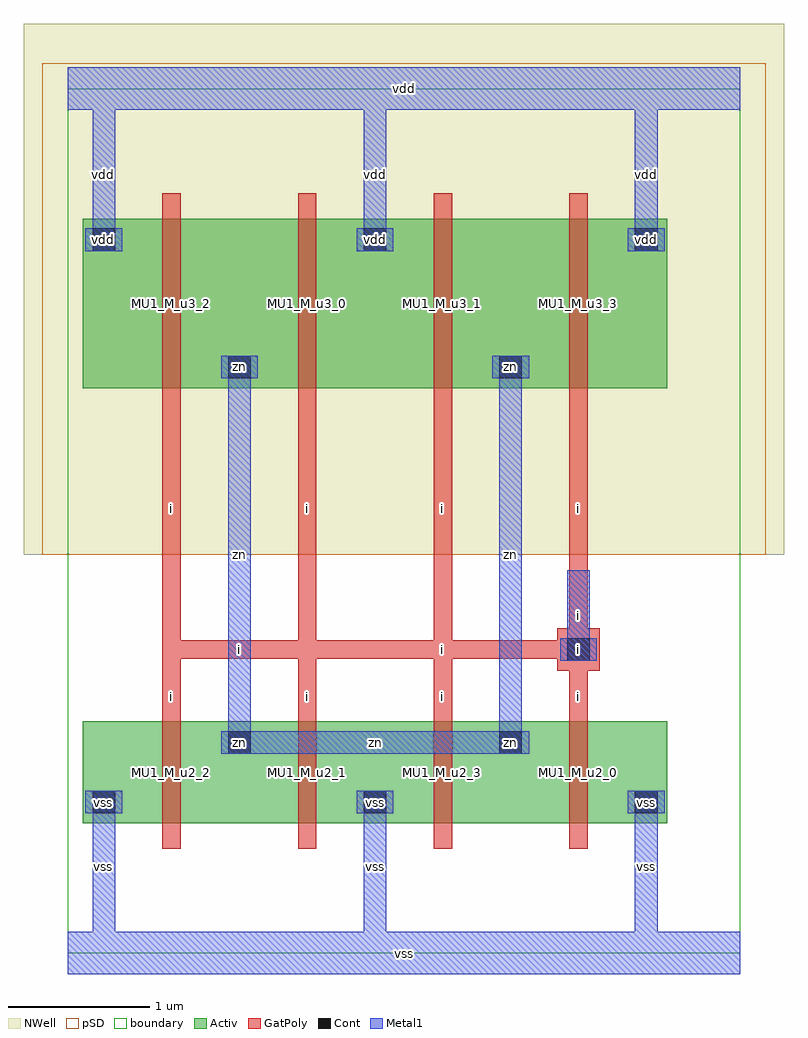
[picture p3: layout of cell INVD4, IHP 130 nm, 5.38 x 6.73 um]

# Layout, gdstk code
import gdstk
lib = gdstk.Library(unit=1e-6, precision=1e-09)
def R(c, l, rs):  # rectangles x0, y0, x1, y1
    for r in rs: c.add(gdstk.rectangle(r[:2], r[2:], *l))
def A(c, l, x, y, w, h, nx, ny, dx, dy):  # array of equal rectangles
    R(c, l, [(x+i*dx, y+j*dy, x+i*dx+w, y+j*dy+h) for i in range(nx) for j in range(ny)])
Activ = (1, 0)
GatPoly = (5, 0)
Cont = (6, 0)
Metal1 = (8, 0)
pSD = (14, 0)
NWell = (31, 0)
TEXT = (63, 0)
boundary = (189, 4)

invd4 = lib.new_cell('INVD4')
A(invd4, Activ, 0.105, 0.92, 1.26, 0.72, 4, 1, 0.96, 0)
A(invd4, Activ, 0.105, 0.92, 0.3, 0.3, 3, 2, 1.92, 3.98)
A(invd4, Activ, 0.105, 4, 1.26, 1.2, 4, 1, 0.96, 0)
R(invd4, Activ, [(1.065,1.34,1.365,1.64), (2.985,1.34,3.285,1.64), (1.065,4,1.365,4.3), (2.985,4,3.285,4.3)])
A(invd4, GatPoly, 0.67, 0.74, 0.13, 1.08, 4, 1, 0.96, 0)
A(invd4, GatPoly, 0.67, 1.425, 0.13, 0.79, 4, 1, 0.96, 0)
A(invd4, GatPoly, 0.67, 2.085, 0.13, 2.13, 4, 1, 0.96, 0)
A(invd4, GatPoly, 0.67, 3.82, 0.13, 1.56, 4, 1, 0.96, 0)
R(invd4, GatPoly, [(3.465,2,3.765,2.3), (0.67,2.085,1.76,2.215), (1.63,2.085,3.68,2.215)])
A(invd4, Cont, 0.175, 0.99, 0.16, 0.16, 3, 2, 1.92, 3.98)
R(invd4, Cont, [(1.135,1.41,1.295,1.57), (3.055,1.41,3.215,1.57), (3.535,2.07,3.695,2.23), (1.135,4.07,1.295,4.23), (3.055,4.07,3.215,4.23)])
A(invd4, Metal1, 0.175, 0.07, 0.16, 1.08, 3, 2, 1.92, 4.9)
A(invd4, Metal1, 0.125, 0.99, 0.26, 0.16, 3, 2, 1.92, 3.98)
R(invd4, Metal1, [(0,-0.15,4.76,0.15), (1.085,1.41,1.345,1.57), (1.135,1.41,3.215,1.57), (1.135,1.41,1.295,4.23), (3.005,1.41,3.265,1.57), (3.055,1.41,3.215,4.23), (3.485,2.07,3.745,2.23), (3.535,2.07,3.695,2.71), (1.085,4.07,1.345,4.23), (3.005,4.07,3.265,4.23), (0,5.97,4.76,6.27)])
R(invd4, pSD, [(-0.18,2.82,4.94,5.94), (-0.18,5.94,4.94,6.3)])
R(invd4, NWell, [(-0.31,2.82,5.07,6.58)])
R(invd4, boundary, [(0,0,4.76,6.12)])
invd4.add(gdstk.FlexPath([(0.105,0.41),(4.245,0.41)], 0, ends="flush", simple_path=True, layer=63, datatype=0))  # TEXT
invd4.add(gdstk.FlexPath([(0.105,1.07),(4.245,1.07)], 0, ends="flush", simple_path=True, layer=63, datatype=0))  # TEXT
invd4.add(gdstk.FlexPath([(0.105,1.49),(4.245,1.49)], 0, ends="flush", simple_path=True, layer=63, datatype=0))  # TEXT
invd4.add(gdstk.FlexPath([(0.105,2.15),(4.245,2.15)], 0, ends="flush", simple_path=True, layer=63, datatype=0))  # TEXT
invd4.add(gdstk.FlexPath([(0.105,2.63),(4.245,2.63)], 0, ends="flush", simple_path=True, layer=63, datatype=0))  # TEXT
invd4.add(gdstk.FlexPath([(0.105,3.11),(4.245,3.11)], 0, ends="flush", simple_path=True, layer=63, datatype=0))  # TEXT
invd4.add(gdstk.FlexPath([(0.105,4.15),(4.245,4.15)], 0, ends="flush", simple_path=True, layer=63, datatype=0))  # TEXT
invd4.add(gdstk.FlexPath([(0.105,4.71),(4.245,4.71)], 0, ends="flush", simple_path=True, layer=63, datatype=0))  # TEXT
invd4.add(gdstk.FlexPath([(0.105,5.05),(4.245,5.05)], 0, ends="flush", simple_path=True, layer=63, datatype=0))  # TEXT
invd4.add(gdstk.FlexPath([(0.105,5.71),(4.245,5.71)], 0, ends="flush", simple_path=True, layer=63, datatype=0))  # TEXT
invd4.add(gdstk.FlexPath([(0.255,0.07),(0.255,6.05)], 0, ends="flush", simple_path=True, layer=63, datatype=0))  # TEXT
invd4.add(gdstk.FlexPath([(0.735,0.07),(0.735,6.05)], 0, ends="flush", simple_path=True, layer=63, datatype=0))  # TEXT
invd4.add(gdstk.FlexPath([(1.215,0.07),(1.215,6.05)], 0, ends="flush", simple_path=True, layer=63, datatype=0))  # TEXT
invd4.add(gdstk.FlexPath([(1.695,0.07),(1.695,6.05)], 0, ends="flush", simple_path=True, layer=63, datatype=0))  # TEXT
invd4.add(gdstk.FlexPath([(2.175,0.07),(2.175,6.05)], 0, ends="flush", simple_path=True, layer=63, datatype=0))  # TEXT
invd4.add(gdstk.FlexPath([(2.655,0.07),(2.655,6.05)], 0, ends="flush", simple_path=True, layer=63, datatype=0))  # TEXT
invd4.add(gdstk.FlexPath([(3.135,0.07),(3.135,6.05)], 0, ends="flush", simple_path=True, layer=63, datatype=0))  # TEXT
invd4.add(gdstk.FlexPath([(3.615,0.07),(3.615,6.05)], 0, ends="flush", simple_path=True, layer=63, datatype=0))  # TEXT
invd4.add(gdstk.FlexPath([(4.095,0.07),(4.095,6.05)], 0, ends="flush", simple_path=True, layer=63, datatype=0))  # TEXT
invd4.add(gdstk.Label('zn', (3.135,1.49), layer=6, texttype=0))
invd4.add(gdstk.Label('zn', (1.215,1.49), layer=6, texttype=0))
invd4.add(gdstk.Label('zn', (1.215,4.15), layer=6, texttype=0))
invd4.add(gdstk.Label('zn', (3.135,4.15), layer=6, texttype=0))
invd4.add(gdstk.Label('i', (3.615,2.15), layer=6, texttype=0))
invd4.add(gdstk.Label('vss', (4.095,1.07), layer=6, texttype=0))
invd4.add(gdstk.Label('vss', (2.175,1.07), layer=6, texttype=0))
invd4.add(gdstk.Label('vss', (0.255,1.07), layer=6, texttype=0))
invd4.add(gdstk.Label('vdd', (2.175,5.05), layer=6, texttype=0))
invd4.add(gdstk.Label('vdd', (0.255,5.05), layer=6, texttype=0))
invd4.add(gdstk.Label('vdd', (4.095,5.05), layer=6, texttype=0))
invd4.add(gdstk.Label('vss', (4.095,1.07), layer=8, texttype=0))
invd4.add(gdstk.Label('vss', (4.095,0.61), layer=8, texttype=0))
invd4.add(gdstk.Label('vss', (2.175,1.07), layer=8, texttype=0))
invd4.add(gdstk.Label('vss', (2.175,0.61), layer=8, texttype=0))
invd4.add(gdstk.Label('vss', (0.255,1.07), layer=8, texttype=0))
invd4.add(gdstk.Label('vss', (0.255,0.61), layer=8, texttype=0))
invd4.add(gdstk.Label('vdd', (2.175,5.05), layer=8, texttype=0))
invd4.add(gdstk.Label('vdd', (2.175,5.51), layer=8, texttype=0))
invd4.add(gdstk.Label('vdd', (0.255,5.05), layer=8, texttype=0))
invd4.add(gdstk.Label('vdd', (0.255,5.51), layer=8, texttype=0))
invd4.add(gdstk.Label('vdd', (4.095,5.05), layer=8, texttype=0))
invd4.add(gdstk.Label('vdd', (4.095,5.51), layer=8, texttype=0))
invd4.add(gdstk.Label('zn', (3.135,1.49), layer=8, texttype=2))
invd4.add(gdstk.Label('zn', (1.215,1.49), layer=8, texttype=2))
invd4.add(gdstk.Label('zn', (1.215,4.15), layer=8, texttype=2))
invd4.add(gdstk.Label('zn', (3.135,4.15), layer=8, texttype=2))
invd4.add(gdstk.Label('zn', (2.175,1.49), layer=8, texttype=2))
invd4.add(gdstk.Label('zn', (1.215,2.82), layer=8, texttype=2))
invd4.add(gdstk.Label('zn', (3.135,2.82), layer=8, texttype=2))
invd4.add(gdstk.Label('i', (3.615,2.15), layer=8, texttype=2))
invd4.add(gdstk.Label('i', (3.615,2.39), layer=8, texttype=2))
invd4.add(gdstk.Label('vss', (2.38,0), layer=8, texttype=2))
invd4.add(gdstk.Label('vdd', (2.38,6.12), layer=8, texttype=2))
invd4.add(gdstk.Label('zn', (3.135,1.49), layer=8, texttype=2))
invd4.add(gdstk.Label('zn', (1.215,1.49), layer=8, texttype=2))
invd4.add(gdstk.Label('zn', (1.215,4.15), layer=8, texttype=2))
invd4.add(gdstk.Label('zn', (3.135,4.15), layer=8, texttype=2))
invd4.add(gdstk.Label('zn', (2.175,1.49), layer=8, texttype=2))
invd4.add(gdstk.Label('zn', (1.215,2.82), layer=8, texttype=2))
invd4.add(gdstk.Label('zn', (3.135,2.82), layer=8, texttype=2))
invd4.add(gdstk.Label('i', (3.615,2.15), layer=8, texttype=2))
invd4.add(gdstk.Label('i', (3.615,2.39), layer=8, texttype=2))
invd4.add(gdstk.Label('vss', (2.38,0), layer=8, texttype=2))
invd4.add(gdstk.Label('vdd', (2.38,6.12), layer=8, texttype=2))
invd4.add(gdstk.Label('MU1_M_u2_0', (3.615,1.28), layer=1, texttype=0))
invd4.add(gdstk.Label('MU1_M_u2_1', (1.695,1.28), layer=1, texttype=0))
invd4.add(gdstk.Label('MU1_M_u2_2', (0.735,1.28), layer=1, texttype=0))
invd4.add(gdstk.Label('MU1_M_u2_3', (2.655,1.28), layer=1, texttype=0))
invd4.add(gdstk.Label('MU1_M_u3_0', (1.695,4.6), layer=1, texttype=0))
invd4.add(gdstk.Label('MU1_M_u3_1', (2.655,4.6), layer=1, texttype=0))
invd4.add(gdstk.Label('MU1_M_u3_2', (0.735,4.6), layer=1, texttype=0))
invd4.add(gdstk.Label('MU1_M_u3_3', (3.615,4.6), layer=1, texttype=0))
invd4.add(gdstk.Label('zn', (3.135,1.49), layer=1, texttype=0))
invd4.add(gdstk.Label('zn', (1.215,1.49), layer=1, texttype=0))
invd4.add(gdstk.Label('zn', (1.215,4.15), layer=1, texttype=0))
invd4.add(gdstk.Label('zn', (3.135,4.15), layer=1, texttype=0))
invd4.add(gdstk.Label('vss', (4.095,1.07), layer=1, texttype=0))
invd4.add(gdstk.Label('vss', (2.175,1.07), layer=1, texttype=0))
invd4.add(gdstk.Label('vss', (0.255,1.07), layer=1, texttype=0))
invd4.add(gdstk.Label('vdd', (2.175,5.05), layer=1, texttype=0))
invd4.add(gdstk.Label('vdd', (0.255,5.05), layer=1, texttype=0))
invd4.add(gdstk.Label('vdd', (4.095,5.05), layer=1, texttype=0))
invd4.add(gdstk.Label('zn', (3.135,1.49), layer=8, texttype=25))
invd4.add(gdstk.Label('zn', (1.215,1.49), layer=8, texttype=25))
invd4.add(gdstk.Label('zn', (1.215,4.15), layer=8, texttype=25))
invd4.add(gdstk.Label('zn', (3.135,4.15), layer=8, texttype=25))
invd4.add(gdstk.Label('zn', (2.175,1.49), layer=8, texttype=25))
invd4.add(gdstk.Label('zn', (1.215,2.82), layer=8, texttype=25))
invd4.add(gdstk.Label('zn', (3.135,2.82), layer=8, texttype=25))
invd4.add(gdstk.Label('i', (3.615,2.15), layer=8, texttype=25))
invd4.add(gdstk.Label('i', (3.615,2.39), layer=8, texttype=25))
invd4.add(gdstk.Label('vss', (2.38,0), layer=8, texttype=25))
invd4.add(gdstk.Label('vdd', (2.38,6.12), layer=8, texttype=25))
invd4.add(gdstk.Label('i', (3.615,1.82), layer=5, texttype=0))
invd4.add(gdstk.Label('i', (2.655,2.15), layer=5, texttype=0))
invd4.add(gdstk.Label('i', (1.695,1.82), layer=5, texttype=0))
invd4.add(gdstk.Label('i', (1.215,2.15), layer=5, texttype=0))
invd4.add(gdstk.Label('i', (0.735,1.82), layer=5, texttype=0))
invd4.add(gdstk.Label('i', (2.655,1.82), layer=5, texttype=0))
invd4.add(gdstk.Label('i', (1.695,3.15), layer=5, texttype=0))
invd4.add(gdstk.Label('i', (2.655,3.15), layer=5, texttype=0))
invd4.add(gdstk.Label('i', (0.735,3.15), layer=5, texttype=0))
invd4.add(gdstk.Label('i', (3.615,3.15), layer=5, texttype=0))
invd4.add(gdstk.Label('i', (3.615,2.15), layer=5, texttype=0))

lib.write_gds('INVD4.gds')
